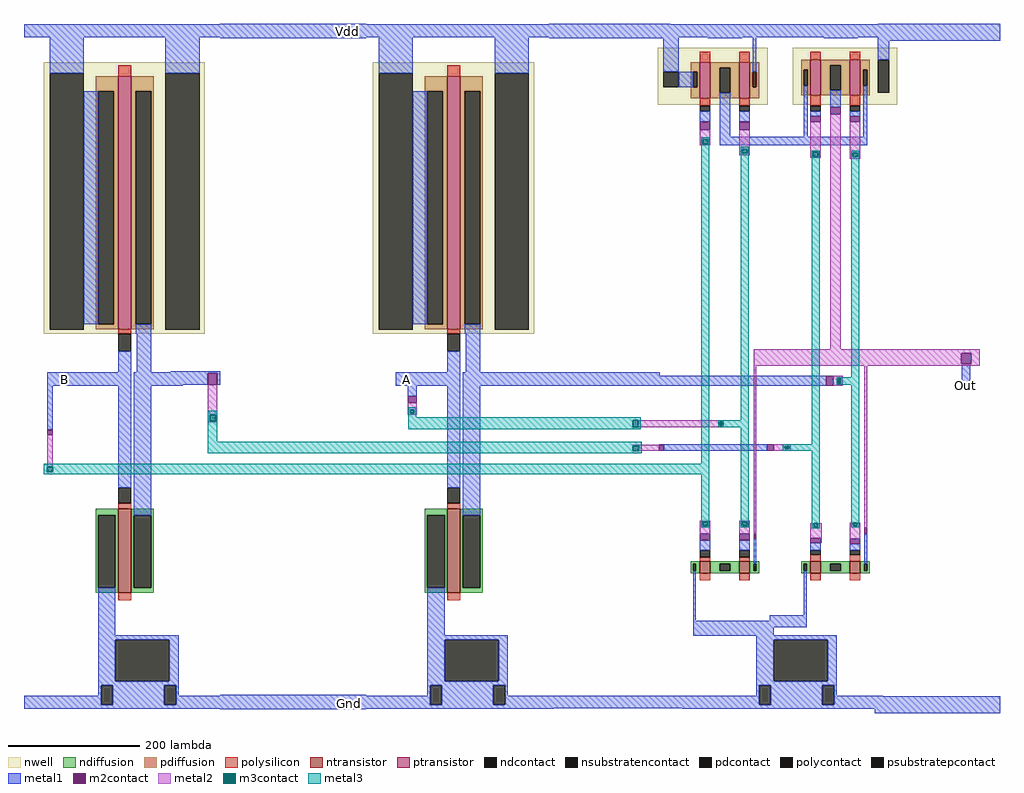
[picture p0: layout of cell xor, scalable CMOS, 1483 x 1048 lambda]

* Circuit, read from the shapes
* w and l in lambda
.subckt xor A B Gnd Out Vdd
M1 n1 B Gnd Gnd nfet w=128 l=20
M2 n2 A Gnd Gnd nfet w=128 l=20
M3 n3 B Gnd Gnd nfet w=18 l=16
M4 Out A n3 Gnd nfet w=18 l=16
M5 n4 n1 Gnd Gnd nfet w=18 l=16
M6 Out n2 n4 Gnd nfet w=18 l=16
M7 n1 B Vdd Vdd pfet w=384 l=20
M8 n2 A Vdd Vdd pfet w=384 l=20
M9 n5 B Vdd Vdd pfet w=54 l=16
M10 Vdd A n5 Vdd pfet w=54 l=16
M11 Out n1 n5 Vdd pfet w=54 l=16
M12 n5 n2 Out Vdd pfet w=54 l=16
.ends

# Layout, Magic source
magic
tech scmos
<< nwell >>
rect -127 106 118 518
rect 373 106 618 518
rect 806 454 973 540
rect 1011 454 1170 540
<< polysilicon >>
rect 870 518 886 534
rect 930 518 946 534
rect 1038 522 1054 534
rect 1098 522 1114 534
rect -14 497 6 514
rect -14 106 6 113
rect 486 497 506 514
rect 486 106 506 113
rect 870 452 886 464
rect 930 452 946 464
rect 1038 452 1054 468
rect 1098 452 1114 468
rect -14 -160 6 -152
rect 486 -160 506 -152
rect 870 -240 886 -234
rect 930 -240 946 -234
rect 1038 -240 1054 -230
rect 1098 -240 1114 -230
rect 870 -269 886 -258
rect 930 -269 946 -258
rect 1038 -269 1054 -258
rect 1098 -269 1114 -258
rect -14 -299 6 -288
rect 486 -299 506 -288
<< ndiffusion >>
rect -48 -170 -14 -160
rect -48 -280 -44 -170
rect -18 -280 -14 -170
rect -48 -288 -14 -280
rect 6 -170 40 -160
rect 6 -280 10 -170
rect 36 -280 40 -170
rect 6 -288 40 -280
rect 452 -170 486 -160
rect 452 -280 456 -170
rect 482 -280 486 -170
rect 452 -288 486 -280
rect 506 -170 540 -160
rect 506 -280 510 -170
rect 536 -280 540 -170
rect 856 -244 870 -240
rect 856 -254 860 -244
rect 864 -254 870 -244
rect 856 -258 870 -254
rect 886 -244 930 -240
rect 886 -254 900 -244
rect 916 -254 930 -244
rect 886 -258 930 -254
rect 946 -244 960 -240
rect 946 -254 952 -244
rect 956 -254 960 -244
rect 946 -258 960 -254
rect 1024 -244 1038 -240
rect 1024 -254 1028 -244
rect 1032 -254 1038 -244
rect 1024 -258 1038 -254
rect 1054 -244 1098 -240
rect 1054 -254 1068 -244
rect 1084 -254 1098 -244
rect 1054 -258 1098 -254
rect 1114 -244 1128 -240
rect 1114 -254 1120 -244
rect 1124 -254 1128 -244
rect 1114 -258 1128 -254
rect 506 -288 540 -280
<< pdiffusion >>
rect -48 474 -14 497
rect -48 120 -44 474
rect -21 120 -14 474
rect -48 113 -14 120
rect 6 474 40 497
rect 6 120 13 474
rect 36 120 40 474
rect 6 113 40 120
rect 856 504 870 518
rect 452 474 486 497
rect 452 120 456 474
rect 479 120 486 474
rect 452 113 486 120
rect 506 474 540 497
rect 506 120 513 474
rect 536 120 540 474
rect 506 113 540 120
rect 856 480 860 504
rect 866 480 870 504
rect 856 464 870 480
rect 886 510 930 518
rect 886 472 900 510
rect 916 472 930 510
rect 886 464 930 472
rect 946 504 960 518
rect 946 480 950 504
rect 956 480 960 504
rect 946 464 960 480
rect 1024 507 1038 522
rect 1024 483 1028 507
rect 1034 483 1038 507
rect 1024 468 1038 483
rect 1054 514 1098 522
rect 1054 476 1068 514
rect 1084 476 1098 514
rect 1054 468 1098 476
rect 1114 507 1128 522
rect 1114 483 1118 507
rect 1124 483 1128 507
rect 1114 468 1128 483
<< metal1 >>
rect 141 576 363 577
rect 641 576 825 577
rect 1140 576 1326 577
rect -157 556 1326 576
rect -118 502 -66 556
rect 58 502 110 556
rect 141 555 363 556
rect -66 120 -44 474
rect 13 106 36 120
rect 382 502 434 556
rect 558 502 610 556
rect 641 555 838 556
rect 882 555 934 556
rect 434 120 456 474
rect 513 106 536 120
rect 814 504 838 555
rect 838 480 860 504
rect 950 504 956 556
rect 1058 555 1110 556
rect 1140 551 1326 556
rect 1140 522 1158 551
rect 870 428 886 444
rect 900 405 916 472
rect 930 428 946 444
rect 1028 405 1034 483
rect 1038 436 1054 444
rect 1068 450 1084 476
rect 1098 436 1114 444
rect 1118 405 1124 483
rect 900 392 1124 405
rect -14 47 6 79
rect 14 47 36 106
rect 66 47 141 49
rect 486 47 506 79
rect 514 47 536 106
rect -122 27 6 47
rect -122 -40 -113 27
rect -14 -128 6 27
rect 10 46 141 47
rect 10 28 122 46
rect 137 28 141 46
rect 10 27 84 28
rect 408 27 506 47
rect 10 -170 36 27
rect 426 11 440 27
rect 486 -128 506 27
rect 510 42 809 47
rect 510 27 1062 42
rect 510 -170 536 27
rect 1268 23 1281 60
rect 808 -63 972 -62
rect 815 -72 972 -63
rect 870 -223 886 -208
rect 930 -223 946 -208
rect 952 -244 956 -206
rect 1038 -223 1054 -212
rect 1098 -223 1114 -213
rect 1120 -244 1124 -198
rect -44 -352 -18 -280
rect 456 -352 482 -280
rect 860 -330 864 -254
rect 1028 -322 1032 -254
rect 976 -330 1032 -322
rect 860 -340 1032 -330
rect 860 -352 982 -340
rect -44 -359 78 -352
rect -44 -422 -18 -359
rect 64 -422 78 -359
rect -44 -428 78 -422
rect -44 -444 -40 -428
rect -157 -458 -40 -444
rect -22 -458 56 -428
rect 74 -444 78 -428
rect 456 -359 578 -352
rect 860 -353 1078 -352
rect 456 -422 482 -359
rect 564 -422 578 -359
rect 456 -428 578 -422
rect 141 -444 363 -443
rect 456 -444 460 -428
rect 74 -458 460 -444
rect 478 -458 556 -428
rect 574 -444 578 -428
rect 956 -359 1078 -353
rect 956 -422 982 -359
rect 1064 -422 1078 -359
rect 956 -428 1078 -422
rect 956 -444 960 -428
rect 574 -458 960 -444
rect 978 -458 1056 -428
rect 1074 -444 1078 -428
rect 1074 -445 1148 -444
rect 1074 -458 1326 -445
rect -157 -463 1326 -458
rect -157 -464 648 -463
rect 843 -464 1326 -463
rect 141 -465 363 -464
rect 1136 -471 1326 -464
<< metal2 >>
rect 870 401 886 416
rect 870 394 874 401
rect 882 394 886 401
rect 870 392 886 394
rect 930 386 946 416
rect 930 380 934 386
rect 942 380 946 386
rect 930 377 946 380
rect 1038 382 1054 428
rect 1038 375 1042 382
rect 1050 375 1054 382
rect 1038 373 1054 375
rect 1068 82 1084 439
rect 1098 381 1114 428
rect 1098 375 1102 381
rect 1110 375 1114 381
rect 1098 372 1114 375
rect 952 76 1295 82
rect 952 60 1267 76
rect 1282 60 1295 76
rect 952 57 1295 60
rect 122 -17 137 28
rect 426 -10 440 1
rect 426 -15 430 -10
rect 436 -15 440 -10
rect 426 -17 440 -15
rect 122 -27 125 -17
rect 134 -27 137 -17
rect 122 -29 137 -27
rect 776 -28 906 -26
rect 776 -34 900 -28
rect 904 -34 906 -28
rect 776 -36 906 -34
rect -122 -96 -113 -48
rect 768 -64 808 -63
rect 777 -72 808 -64
rect 870 -180 886 -178
rect 870 -186 874 -180
rect 882 -186 886 -180
rect 870 -198 886 -186
rect 930 -180 946 -178
rect 930 -186 934 -180
rect 942 -186 946 -180
rect 930 -198 946 -186
rect 952 -198 956 57
rect 1073 38 1087 42
rect 1073 30 1080 38
rect 1084 30 1087 38
rect 1073 27 1087 30
rect 982 -65 1008 -62
rect 982 -69 999 -65
rect 1006 -69 1008 -65
rect 982 -72 1008 -69
rect 1038 -188 1043 -182
rect 1049 -188 1055 -182
rect 1038 -205 1055 -188
rect 1054 -212 1055 -205
rect 1098 -186 1103 -181
rect 1109 -186 1114 -181
rect 1098 -206 1114 -186
rect 1120 -189 1124 57
<< metal3 >>
rect 872 401 884 404
rect 872 394 874 401
rect 882 394 884 401
rect 427 -10 439 -6
rect 122 -17 137 -11
rect 122 -27 125 -17
rect 134 -27 137 -17
rect 122 -58 137 -27
rect 427 -15 430 -10
rect 436 -15 439 -10
rect 427 -21 439 -15
rect 427 -26 780 -21
rect 427 -36 768 -26
rect 776 -36 780 -26
rect 427 -39 780 -36
rect 122 -64 782 -58
rect 122 -72 768 -64
rect 777 -72 782 -64
rect 122 -76 782 -72
rect 872 -92 884 394
rect 932 386 944 390
rect 932 380 934 386
rect 942 380 944 386
rect 932 -26 944 380
rect 898 -28 944 -26
rect 898 -34 900 -28
rect 904 -34 944 -28
rect 898 -36 944 -34
rect -127 -96 884 -92
rect -127 -104 -122 -96
rect -113 -104 884 -96
rect -127 -108 884 -104
rect 872 -180 884 -108
rect 872 -186 874 -180
rect 882 -186 884 -180
rect 872 -188 884 -186
rect 932 -180 944 -36
rect 1040 382 1052 384
rect 1040 375 1042 382
rect 1050 375 1052 382
rect 1040 -62 1052 375
rect 1100 381 1112 384
rect 1100 375 1102 381
rect 1110 375 1112 381
rect 1100 40 1112 375
rect 1078 38 1112 40
rect 1078 30 1080 38
rect 1084 30 1112 38
rect 1078 28 1112 30
rect 996 -65 1052 -62
rect 996 -69 999 -65
rect 1006 -69 1052 -65
rect 996 -72 1052 -69
rect 932 -186 934 -180
rect 942 -186 944 -180
rect 932 -188 944 -186
rect 1040 -182 1052 -72
rect 1040 -188 1043 -182
rect 1049 -188 1052 -182
rect 1100 -181 1112 28
rect 1100 -186 1103 -181
rect 1109 -186 1112 -181
rect 1100 -188 1112 -186
rect 1040 -190 1052 -188
<< ntransistor >>
rect -14 -288 6 -160
rect 486 -288 506 -160
rect 870 -258 886 -240
rect 930 -258 946 -240
rect 1038 -258 1054 -240
rect 1098 -258 1114 -240
<< ptransistor >>
rect -14 113 6 497
rect 486 113 506 497
rect 870 464 886 518
rect 930 464 946 518
rect 1038 468 1054 522
rect 1098 468 1114 522
<< polycontact >>
rect -14 79 6 106
rect 870 444 886 452
rect 930 444 946 452
rect 1038 444 1054 452
rect 1098 444 1114 452
rect 486 79 506 106
rect -14 -152 6 -128
rect 486 -152 506 -128
rect 870 -234 886 -223
rect 930 -234 946 -223
rect 1038 -230 1054 -223
rect 1098 -230 1114 -223
<< ndcontact >>
rect -44 -280 -18 -170
rect 10 -280 36 -170
rect 456 -280 482 -170
rect 510 -280 536 -170
rect 860 -254 864 -244
rect 900 -254 916 -244
rect 952 -254 956 -244
rect 1028 -254 1032 -244
rect 1068 -254 1084 -244
rect 1120 -254 1124 -244
<< pdcontact >>
rect -44 120 -21 474
rect 13 120 36 474
rect 456 120 479 474
rect 513 120 536 474
rect 860 480 866 504
rect 900 472 916 510
rect 950 480 956 504
rect 1028 483 1034 507
rect 1068 476 1084 514
rect 1118 483 1124 507
<< m2contact >>
rect 870 416 886 428
rect 930 416 946 428
rect 1068 439 1084 450
rect 1038 428 1054 436
rect 1098 428 1114 436
rect 1267 60 1282 76
rect -122 -48 -113 -40
rect 122 28 137 46
rect 426 1 440 11
rect 1062 27 1073 42
rect 808 -72 815 -63
rect 972 -72 982 -62
rect 1120 -198 1124 -189
rect 870 -208 886 -198
rect 930 -208 946 -198
rect 952 -206 956 -198
rect 1038 -212 1054 -205
rect 1098 -213 1114 -206
<< m3contact >>
rect 874 394 882 401
rect 934 380 942 386
rect 1042 375 1050 382
rect 1102 375 1110 381
rect 430 -15 436 -10
rect 125 -27 134 -17
rect 768 -36 776 -26
rect 900 -34 904 -28
rect 768 -72 777 -64
rect -122 -104 -113 -96
rect 874 -186 882 -180
rect 934 -186 942 -180
rect 1080 30 1084 38
rect 999 -69 1006 -65
rect 1043 -188 1049 -182
rect 1103 -186 1109 -181
<< psubstratepcontact >>
rect -18 -422 64 -359
rect 482 -422 564 -359
rect 982 -422 1064 -359
rect -40 -458 -22 -428
rect 56 -458 74 -428
rect 460 -458 478 -428
rect 556 -458 574 -428
rect 960 -458 978 -428
rect 1056 -458 1074 -428
<< nsubstratencontact >>
rect -118 112 -66 502
rect 58 112 110 502
rect 382 112 434 502
rect 558 112 610 502
rect 814 480 838 504
rect 1140 472 1158 522
<< labels >>
rlabel metal1 -95 37 -95 37 1 B
rlabel metal1 424 36 424 36 1 A
rlabel metal1 334 565 334 565 1 Vdd
rlabel metal1 338 -456 338 -456 1 Gnd
rlabel metal1 1274 27 1274 27 1 Out
<< end >>
